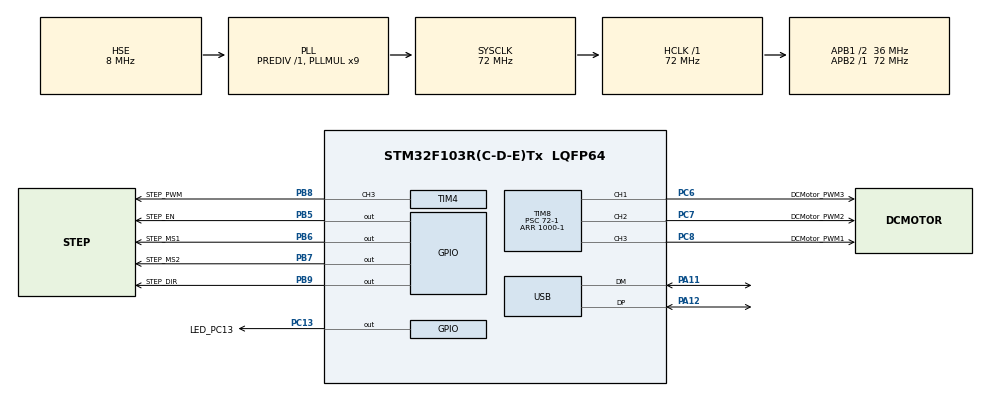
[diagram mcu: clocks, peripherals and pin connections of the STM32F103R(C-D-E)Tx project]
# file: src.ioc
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Mcu.Family=STM32F1
Mcu.Name=STM32F103R(C-D-E)Tx
Mcu.Package=LQFP64
NVIC.PriorityGroup=NVIC_PRIORITYGROUP_4
NVIC.TIM2_IRQn=true\:15\:0\:false\:false\:true\:false\:true\:true
NVIC.TimeBase=TIM2_IRQn
NVIC.TimeBaseIP=TIM2
NVIC.USB_LP_CAN1_RX0_IRQn=true\:0\:0\:false\:false\:true\:false\:true\:true
PA11.Mode=Device
PA11.Signal=USB_DM
PA12.Mode=Device
PA12.Signal=USB_DP
PA13.Mode=Serial_Wire
PA13.Signal=SYS_JTMS-SWDIO
PA14.Mode=Serial_Wire
PA14.Signal=SYS_JTCK-SWCLK
PB5.GPIO_Label=STEP_EN
PB5.Signal=GPIO_Output
PB6.GPIO_Label=STEP_MS1
PB6.Signal=GPIO_Output
PB7.GPIO_Label=STEP_MS2
PB7.Signal=GPIO_Output
PB8.GPIO_Label=STEP_PWM
PB8.Signal=S_TIM4_CH3
PB9.GPIO_Label=STEP_DIR
PB9.Signal=GPIO_Output
PC13-TAMPER-RTC.GPIO_Label=LED_PC13
PC13-TAMPER-RTC.Signal=GPIO_Output
PC6.GPIO_Label=DCMotor_PWM3
PC6.Signal=S_TIM8_CH1
PC7.GPIO_Label=DCMotor_PWM2
PC7.Signal=S_TIM8_CH2
PC8.GPIO_Label=DCMotor_PWM1
PC8.Signal=S_TIM8_CH3
PD0-OSC_IN.Mode=HSE-External-Oscillator
PD0-OSC_IN.Signal=RCC_OSC_IN
PD1-OSC_OUT.Mode=HSE-External-Oscillator
PD1-OSC_OUT.Signal=RCC_OSC_OUT
ProjectManager.HeapSize=0x200
ProjectManager.StackSize=0x400
ProjectManager.TargetToolchain=STM32CubeIDE
RCC.AHBFreq_Value=72000000
RCC.APB1CLKDivider=RCC_HCLK_DIV2
RCC.APB1Freq_Value=36000000
RCC.APB1TimFreq_Value=72000000
RCC.APB2Freq_Value=72000000
RCC.APB2TimFreq_Value=72000000
RCC.HCLKFreq_Value=72000000
RCC.PLLMUL=RCC_PLL_MUL9
RCC.PLLSourceVirtual=RCC_PLLSOURCE_HSE
RCC.SYSCLKFreq_VALUE=72000000
RCC.SYSCLKSource=RCC_SYSCLKSOURCE_PLLCLK
RCC.USBFreq_Value=48000000
RCC.USBPrescaler=RCC_USBCLKSOURCE_PLL_DIV1_5
SH.S_TIM4_CH3.0=TIM4_CH3,PWM Generation3 CH3
SH.S_TIM8_CH1.0=TIM8_CH1,PWM Generation1 CH1
SH.S_TIM8_CH2.0=TIM8_CH2,PWM Generation2 CH2
SH.S_TIM8_CH3.0=TIM8_CH3,PWM Generation3 CH3
TIM4.AutoReloadPreload=TIM_AUTORELOAD_PRELOAD_ENABLE
TIM4.Channel-PWM\ Generation3\ CH3=TIM_CHANNEL_3
TIM4.Period=10000-1
TIM4.Prescaler=72-1
TIM8.Channel-PWM\ Generation1\ CH1=TIM_CHANNEL_1
TIM8.Channel-PWM\ Generation2\ CH2=TIM_CHANNEL_2
TIM8.Channel-PWM\ Generation3\ CH3=TIM_CHANNEL_3
TIM8.Period=1000-1
TIM8.Prescaler=72-1
USB_DEVICE.CLASS_NAME_FS=CDC
USB_DEVICE.VirtualMode=Cdc
USB_DEVICE.VirtualModeFS=Cdc_FS
VP_SYS_VS_tim2.Mode=TIM2
VP_TIM4_VS_ClockSourceINT.Mode=Internal
VP_TIM8_VS_ClockSourceINT.Mode=Internal
VP_USB_DEVICE_VS_USB_DEVICE_CDC_FS.Mode=CDC_FS
board=custom

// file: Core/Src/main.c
/* USER CODE BEGIN Header */
/**
 ******************************************************************************
 * @file           : main.c
 * @brief          : Main program body
 ******************************************************************************
 * @attention
 *
 * Copyright (c) 2026 STMicroelectronics.
 * All rights reserved.
 *
 * This software is licensed under terms that can be found in the LICENSE file
 * in the root directory of this software component.
 * If no LICENSE file comes with this software, it is provided AS-IS.
 *
 ******************************************************************************
 */
/* USER CODE END Header */
#include "main.h"
#include "tim.h"
#include "usb_device.h"
#include "gpio.h"

/* USER CODE BEGIN Includes */
#include "usbd_cdc_if.h"
#include <stdio.h>
#include <string.h>
#include <stdlib.h>
#include <stdarg.h>
/* USER CODE END Includes */

/* USER CODE BEGIN PTD */
typedef struct
{
  char *data;
  uint32_t length;
} String;
typedef struct
{
  char *name;
  void (*handler)(int argc, char **argv);
  char *description;
} Command_t;
/* USER CODE END PTD */

/* USER CODE BEGIN PD */
#define STEP_PWM_PERIOD 1000
#define SERIAL_BUFFER_SIZE 256
/* USER CODE END PD */

/* USER CODE BEGIN PV */
static uint8_t serial_buffer[SERIAL_BUFFER_SIZE];
static uint32_t serial_buffer_index = 0;
static uint8_t serial_available_flag = 0;
uint8_t motor_speed = 0;
uint8_t stepper_enabled = 0;
uint8_t stepper_direction = 0;
uint32_t stepper_speed_hz = 100; // steps/seccond
/* USER CODE END PV */

void SystemClock_Config(void);
/* USER CODE BEGIN PFP */
uint8_t Serial_available(void);
int16_t Serial_read(void);
uint32_t Serial_readBytes(uint8_t *buffer, uint32_t length);
String Serial_readStringUntil(char terminator);
String Serial_readString(void);
int32_t Serial_parseInt(void);
float Serial_parseFloat(void);
// void Serial_print(const char *format, ...);
// void Serial_println(const char *format, ...);
// void Serial_print_int(int32_t value);
// void Serial_print_float(float value, uint8_t decimal_places);
// void Serial_println_void(void);
void Serial_flush(void);
void USB_CDC_RxHandler(uint8_t *Buf, uint32_t Len);
static void Stepper_Enable(void);
static void Stepper_Disable(void);
static void Stepper_Set_Direction(uint8_t dir);
static void Stepper_Set_Speed(uint32_t hz);
static void Stepper_Start(void);
static void Stepper_Stop(void);
// static void DC_Start(void);
// static void DC_Stop(void);
// static void DC_Set_Speed(uint8_t speed);

/* USER CODE END PFP */

/* USER CODE BEGIN 0 */
void USB_CDC_RxHandler(uint8_t *Buf, uint32_t Len)
{
  if (Len > 0)
  {
    for (uint32_t i = 0; i < Len; i++)
    {
      if (serial_buffer_index < SERIAL_BUFFER_SIZE)
      {
        serial_buffer[serial_buffer_index++] = Buf[i];
      }
    }
    serial_available_flag = 1;
  }
}
// Serial available - kiểm tra dữ liệu có sẵn
uint8_t Serial_available(void)
{
  return (serial_available_flag && (serial_buffer_index > 0));
}

static void Serial_write(uint8_t *data, uint16_t len)
{
  // gửi nếu USB rảnh, không thì bỏ
  if (CDC_Transmit_FS(data, len) == USBD_OK)
  {
  }
}
void Serial_print(const char *fmt, ...)
{
  char buffer[128];

  va_list args;
  va_start(args, fmt);
  vsnprintf(buffer, sizeof(buffer), fmt, args);
  va_end(args);

  Serial_write((uint8_t *)buffer, strlen(buffer));
}
void Serial_println(const char *fmt, ...)
{
  char buffer[128];

  va_list args;
  va_start(args, fmt);
  vsnprintf(buffer, sizeof(buffer), fmt, args);
  va_end(args);

  uint16_t len = strlen(buffer);

  // thêm newline
  buffer[len++] = '\r';
  buffer[len++] = '\n';
  buffer[len] = '\0';

  Serial_write((uint8_t *)buffer, len);
}

// Đọc 1 byte từ buffer
int16_t Serial_read(void)
{
  if (!Serial_available())
    return -1;

  uint8_t data = serial_buffer[0];

  // Dịch buffer lên
  for (uint32_t i = 0; i < serial_buffer_index - 1; i++)
  {
    serial_buffer[i] = serial_buffer[i + 1];
  }
  serial_buffer_index--;

  if (serial_buffer_index == 0)
  {
    serial_available_flag = 0;
  }

  return data;
}

// Đọc dữ liệu vào buffer
uint32_t Serial_readBytes(uint8_t *buffer, uint32_t length)
{
  uint32_t count = 0;
  while (count < length && Serial_available())
  {
    int16_t data = Serial_read();
    if (data >= 0)
    {
      buffer[count++] = (uint8_t)data;
    }
    else
    {
      break;
    }
  }
  return count;
}

// Đọc 1 dòng (đến \n hoặc \r\n)
String Serial_readStringUntil(char terminator)
{
  String result = {0};
  char temp[SERIAL_BUFFER_SIZE];
  uint32_t index = 0;

  while (index < SERIAL_BUFFER_SIZE - 1 && Serial_available())
  {
    int16_t c = Serial_read();
    if (c < 0)
      break;

    if (c == terminator || c == '\n')
    {
      if (c == '\n' && index > 0 && temp[index - 1] == '\r')
      {
        index--; // Bỏ qua \r
      }
      break;
    }

    temp[index++] = (char)c;
  }

  temp[index] = '\0';
  result.data = malloc(index + 1);
  if (result.data)
  {
    strcpy(result.data, temp);
    result.length = index;
  }

  return result;
}

// Đọc chuỗi (không có ký tự kết thúc)
String Serial_readString(void)
{
  return Serial_readStringUntil('\n');
}

// Parse string thành số nguyên
int32_t Serial_parseInt(void)
{
  String str = Serial_readStringUntil('\n');
  if (str.data)
  {
    int32_t value = atoi(str.data);
    free(str.data);
    return value;
  }
  return 0;
}

// Parse string thành số thực
float Serial_parseFloat(void)
{
  String str = Serial_readStringUntil('\n');
  if (str.data)
  {
    float value = atof(str.data);
    free(str.data);
    return value;
  }
  return 0;
}

// // In ra Serial (giống Serial.print)
// void Serial_print(const char *format, ...)
// {
//   char buffer[256];
//   va_list args;
//   va_start(args, format);
//   vsnprintf(buffer, sizeof(buffer), format, args);
//   va_end(args);

//   if (CDC_Transmit_FS((uint8_t *)buffer, strlen(buffer)) == USBD_OK){}
// }

// // In ra Serial có xuống dòng
// void Serial_println(const char *format, ...)
// {
//   char buffer[256];
//   va_list args;
//   va_start(args, format);
//   vsnprintf(buffer, sizeof(buffer), format, args);
//   va_end(args);

//   char output[260];
//   snprintf(output, sizeof(output), "%s\r\n", buffer);
//   if (CDC_Transmit_FS((uint8_t *)output, strlen(output)) == USBD_OK){}
// }

// // In số nguyên
// void Serial_print_int(int32_t value)
// {
//   char buffer[32];
//   snprintf(buffer, sizeof(buffer), "%ld", value);
//   if (CDC_Transmit_FS((uint8_t *)buffer, strlen(buffer)) == USBD_OK){}
// }

// // In số thực
// void Serial_print_float(float value, uint8_t decimal_places)
// {
//   char buffer[64];
//   snprintf(buffer, sizeof(buffer), "%.*f", decimal_places, value);
//   if (CDC_Transmit_FS((uint8_t *)buffer, strlen(buffer)) == USBD_OK){}
// }

// // In xuống dòng
// void Serial_println_void(void)
// {
//   if (CDC_Transmit_FS((uint8_t *)"\r\n", 2) == USBD_OK){}
// }

// Flush buffer
void Serial_flush(void)
{
  serial_buffer_index = 0;
  serial_available_flag = 0;
}
static void Stepper_Enable(void)
{
  stepper_enabled = 1;
  HAL_GPIO_WritePin(STEP_EN_GPIO_Port, STEP_EN_Pin, GPIO_PIN_RESET);
}
static void Stepper_Disable(void)
{
  stepper_enabled = 0;
  HAL_GPIO_WritePin(STEP_EN_GPIO_Port, STEP_EN_Pin, GPIO_PIN_SET);
  HAL_TIM_PWM_Stop(&htim4, TIM_CHANNEL_3);
}
static void Stepper_Set_Direction(uint8_t dir)
{
  stepper_direction = dir;
  HAL_GPIO_WritePin(STEP_DIR_GPIO_Port, STEP_DIR_Pin, dir ? GPIO_PIN_SET : GPIO_PIN_RESET);
}
static void Stepper_Set_Speed(uint32_t hz)
{
  if (hz > 0 && hz <= 10000) // Giới hạn 10kHz
  {
    stepper_speed_hz = hz;

    // Tính toán lại tần số PWM
    // Clock TIM4 = 72MHz / (Prescaler+1) = 72MHz / 72 = 1MHz
    // Period = 1MHz / (hz * 2) vì cần 2 xung PWM cho 1 step?
    // Thực tế: mỗi chu kỳ PWM = 1 step, nhưng cần 50% duty để có xung lên xuống
    // Nên tần số PWM = tần số step
    uint32_t period = 1000000 / hz; // 1MHz / hz

    if (period < 2)
      period = 2; // Giới hạn period tối thiểu

    __HAL_TIM_SET_AUTORELOAD(&htim4, period - 1);
    __HAL_TIM_SET_COMPARE(&htim4, TIM_CHANNEL_3, (period - 1) / 2);
  }
}
static void Stepper_Start(void)
{
  if (stepper_enabled)
  {
    HAL_TIM_PWM_Start(&htim4, TIM_CHANNEL_3);
  }
}
static void Stepper_Stop(void)
{
  HAL_TIM_PWM_Stop(&htim4, TIM_CHANNEL_3);
  HAL_GPIO_WritePin(GPIOB, GPIO_PIN_8, GPIO_PIN_RESET);
}

// Hàm split string thành các token
uint8_t split_command(char *command, char **argv, uint8_t max_args)
{
  uint8_t argc = 0;
  char *token = strtok(command, " ");

  while (token != NULL && argc < max_args)
  {
    argv[argc++] = token;
    token = strtok(NULL, " ");
  }

  return argc;
}

// Xử lý lệnh "help"
void cmd_help(int argc, char **argv)
{
  Serial_println("======= Available Commands =======");
  Serial_println("  help              - Show this help");
  Serial_println("  status            - Show motor status");
  Serial_println("  step on/off       - Enable/disable stepper motor");
  Serial_println("  step dir [0/1]    - Set stepper direction (0=CCW, 1=CW)");
  Serial_println("  step speed [hz]   - Set stepper speed (1-10000 Hz)");
  Serial_println("  step start/stop   - Start/stop stepper motor");
  Serial_println("  dc speed [0-255]  - Set DC motor speed (PWM value)");
  Serial_println("  dc ch [1-3] [val] - Set DC motor channel value");
  Serial_println("  echo [text]       - Echo back text");
  Serial_println("======= Available Commands =======");
}

// Xử lý lệnh "status"
void cmd_status(int argc, char **argv)
{
  Serial_println("======= Motor Status =======");
  Serial_print("Stepper Enabled: ");
  Serial_println(stepper_enabled ? "YES" : "NO");
  Serial_print("Stepper Direction: ");
  Serial_println(stepper_direction ? "CW" : "CCW");
  Serial_print("Stepper Speed: ", stepper_speed_hz);
  // Serial_print(stepper_speed_hz);
  Serial_println(" Hz");
  Serial_print("Stepper PWM State: ");
  Serial_println(HAL_TIM_PWM_GetState(&htim4) == HAL_TIM_STATE_READY ? "Stopped" : "Running");
  Serial_println("======= Motor Status =======");
}

// Xử lý lệnh "step"
void cmd_step(int argc, char **argv)
{
  if (argc < 2)
  {
    Serial_println("Usage: step [on/off/dir/speed/start/stop]");
    return;
  }

  if (strcmp(argv[1], "on") == 0)
  {
    Stepper_Enable();
    Serial_println("Stepper enabled");
  }
  else if (strcmp(argv[1], "off") == 0)
  {
    Stepper_Disable();
    Serial_println("Stepper disabled");
  }
  else if (strcmp(argv[1], "dir") == 0 && argc >= 3)
  {
    uint8_t dir = atoi(argv[2]);
    Stepper_Set_Direction(dir);
    Serial_print("Stepper direction set to ");
    Serial_println(dir ? "CW" : "CCW");
  }
  else if (strcmp(argv[1], "speed") == 0 && argc >= 3)
  {
    uint32_t speed = atoi(argv[2]);
    Stepper_Set_Speed(speed);
    Serial_print("Stepper speed set to ", speed);
    // Serial_print(speed);
    Serial_println(" Hz");
  }
  else if (strcmp(argv[1], "start") == 0)
  {
    Stepper_Start();
    Serial_println("Stepper started");
  }
  else if (strcmp(argv[1], "stop") == 0)
  {
    Stepper_Stop();
    Serial_println("Stepper stopped");
  }
  else if (strcmp(argv[1], "ms") == 0 && argc >= 4)
  {
    uint8_t ms_pin = atoi(argv[2]); // 1 hoặc 2
    uint8_t state = atoi(argv[3]);  // 0 hoặc 1

    if (state > 1)
    {
      Serial_println("Invalid state (0 or 1)");
      return;
    }

    GPIO_PinState gpio_state = state ? GPIO_PIN_SET : GPIO_PIN_RESET;

    switch (ms_pin)
    {
    case 1:
      HAL_GPIO_WritePin(STEP_MS1_GPIO_Port, STEP_MS1_Pin, gpio_state);
      Serial_println("MS1 set to %d", state);
      break;

    case 2:
      HAL_GPIO_WritePin(STEP_MS2_GPIO_Port, STEP_MS2_Pin, gpio_state);
      Serial_println("MS2 set to %d", state);
      break;

    default:
      Serial_println("Invalid MS pin (1 or 2)");
      break;
    }
  }
  else
  {
    Serial_println("Invalid step subcommand");
  }
}

// Xử lý lệnh "dc"
void cmd_dc(int argc, char **argv)
{
  if (argc < 2)
  {
    Serial_println("Usage: dc [speed/ch/start/stop] ...");
    return;
  }

  // ===== dc ch =====
  else if (strcmp(argv[1], "ch") == 0 && argc >= 4)
  {
    uint8_t channel = atoi(argv[2]);
    uint32_t value = atoi(argv[3]);

    if (value > 999)
      value = 999;

    switch (channel)
    {
    case 1:
      __HAL_TIM_SET_COMPARE(&htim8, TIM_CHANNEL_3, value);
      Serial_println("Channel 1 set to %lu", value);
      break;

    case 2:
      __HAL_TIM_SET_COMPARE(&htim8, TIM_CHANNEL_2, value);
      Serial_println("Channel 2 set to %lu", value);
      break;

    case 3:
      __HAL_TIM_SET_COMPARE(&htim8, TIM_CHANNEL_1, value);
      Serial_println("Channel 3 set to %lu", value);
      break;

    default:
      Serial_println("Invalid channel (1-3)");
    }
  }

  // ===== dc start =====
  else if (strcmp(argv[1], "start") == 0 && argc >= 3)
  {
    uint8_t channel = atoi(argv[2]);

    switch (channel)
    {
    case 1:
      HAL_TIM_PWM_Start(&htim8, TIM_CHANNEL_3);
      Serial_println("Channel 1 STARTED");
      break;

    case 2:
      HAL_TIM_PWM_Start(&htim8, TIM_CHANNEL_2);
      Serial_println("Channel 2 STARTED");
      break;

    case 3:
      HAL_TIM_PWM_Start(&htim8, TIM_CHANNEL_1);
      Serial_println("Channel 3 STARTED");
      break;

    default:
      Serial_println("Invalid channel (1-3)");
    }
  }

  // ===== dc stop =====
  else if (strcmp(argv[1], "stop") == 0 && argc >= 3)
  {
    uint8_t channel = atoi(argv[2]);

    switch (channel)
    {
    case 1:
      HAL_TIM_PWM_Stop(&htim8, TIM_CHANNEL_3);
      Serial_println("Channel 1 STOPPED");
      break;

    case 2:
      HAL_TIM_PWM_Stop(&htim8, TIM_CHANNEL_2);
      Serial_println("Channel 2 STOPPED");
      break;

    case 3:
      HAL_TIM_PWM_Stop(&htim8, TIM_CHANNEL_1);
      Serial_println("Channel 3 STOPPED");
      break;

    default:
      Serial_println("Invalid channel (1-3)");
    }
  }

  else
  {
    Serial_println("Invalid dc command");
  }
}

// Xử lý lệnh "echo"
void cmd_echo(int argc, char **argv)
{
  if (argc >= 2)
  {
    for (int i = 1; i < argc; i++)
    {
      Serial_print("%s", argv[i]);
      if (i < argc - 1)
        Serial_print(" ");
    }
    if (CDC_Transmit_FS((uint8_t *)"\r\n", 2) == USBD_OK)
    {
    }
  }
}

// Danh sách các lệnh
Command_t commands[] = {
    {"help", cmd_help, "Show help"},
    {"status", cmd_status, "Show status"},
    {"step", cmd_step, "Control stepper motor"},
    {"dc", cmd_dc, "Control DC motor"},
    {"echo", cmd_echo, "Echo text"},
    {NULL, NULL, NULL}};

// Tìm và thực thi lệnh
void process_command(char *command_str)
{
  // Xóa ký tự xuống dòng
  char *newline = strchr(command_str, '\n');
  if (newline)
    *newline = '\0';
  newline = strchr(command_str, '\r');
  if (newline)
    *newline = '\0';

  if (strlen(command_str) == 0)
    return;

  char *argv[10];
  uint8_t argc = split_command(command_str, argv, 10);

  if (argc == 0)
    return;

  // Tìm và thực thi lệnh
  for (int i = 0; commands[i].name != NULL; i++)
  {
    if (strcmp(argv[0], commands[i].name) == 0)
    {
      commands[i].handler(argc, argv);
      return;
    }
  }

  // Không tìm thấy lệnh
  Serial_print("Unknown command: ");
  Serial_println("%s", argv[0]);
  Serial_println("Type 'help' for available commands");
}

// Hàm xử lý chính cho USB commands (gọi trong main loop)
void Serial_process_commands(void)
{
  if (Serial_available())
  {
    String cmd = Serial_readString();
    if (cmd.data)
    {
      process_command(cmd.data);
      free(cmd.data);
    }
  }
}

// Hàm tiện ích: đọc số từ Serial (blocking với timeout)
int32_t Serial_readInt_timeout(uint32_t timeout_ms)
{
  uint32_t start = HAL_GetTick();
  String str = {0};
  char temp[32];
  uint32_t index = 0;

  while ((HAL_GetTick() - start) < timeout_ms)
  {
    if (Serial_available())
    {
      int16_t c = Serial_read();
      if (c >= 0)
      {
        if ((c >= '0' && c <= '9') || c == '-' || (c == '.' && index > 0))
        {
          if (index < 31)
            temp[index++] = (char)c;
        }
        else if (c == '\n' || c == ' ')
        {
          break;
        }
      }
    }
  }

  temp[index] = '\0';
  return atoi(temp);
}

// Hàm đọc chuỗi từ Serial (non-blocking)
uint8_t Serial_readString_nonblocking(char *buffer, uint32_t max_len)
{
  static uint32_t last_time = 0;
  static uint32_t index = 0;

  if (Serial_available())
  {
    int16_t c = Serial_read();
    if (c >= 0)
    {
      if (c == '\n' || c == '\r')
      {
        buffer[index] = '\0';
        index = 0;
        return 1;
      }
      else if (index < max_len - 1)
      {
        buffer[index++] = (char)c;
      }
    }
  }

  return 0;
}
/* USER CODE END 0 */

int main(void)
{

  /* MCU Configuration--------------------------------------------------------*/

  /* Reset of all peripherals, Initializes the Flash interface and the Systick. */
  HAL_Init();

  /* Configure the system clock */
  SystemClock_Config();

  /* Initialize all configured peripherals */
  MX_GPIO_Init();
  MX_USB_DEVICE_Init();
  MX_TIM4_Init();
  MX_TIM8_Init();
  /* USER CODE BEGIN 2 */
  for (int i = 0; i < 20; i++)
  {
    HAL_GPIO_TogglePin(LED_PC13_GPIO_Port, LED_PC13_Pin);
    HAL_Delay(80);
  }
  HAL_GPIO_WritePin(LED_PC13_GPIO_Port, LED_PC13_Pin, GPIO_PIN_SET);
  HAL_GPIO_WritePin(STEP_EN_GPIO_Port, STEP_EN_Pin, GPIO_PIN_SET);

  HAL_GPIO_WritePin(STEP_MS1_GPIO_Port, STEP_MS1_Pin, GPIO_PIN_SET);
  HAL_GPIO_WritePin(STEP_MS2_GPIO_Port, STEP_MS2_Pin, GPIO_PIN_SET);
  // MS2/MS1 = 0/0 => MicroStep 1/8
  // MS2/MS1 = 0/1 => MicroStep 1/32
  // MS2/MS1 = 1/0 => MicroStep 1/64
  // MS2/MS1 = 1/1 => MicroStep 1/16

  HAL_TIM_PWM_Stop(&htim8, TIM_CHANNEL_1);
  HAL_TIM_PWM_Stop(&htim8, TIM_CHANNEL_2);
  HAL_TIM_PWM_Stop(&htim8, TIM_CHANNEL_3);

  // Stepper_Start();

  /* USER CODE END 2 */

  /* Infinite loop */
  /* USER CODE BEGIN WHILE */
  while (1)
  {
    Serial_process_commands();
    /* USER CODE END WHILE */

  }
}

void SystemClock_Config(void)
{
  RCC_OscInitTypeDef RCC_OscInitStruct = {0};
  RCC_ClkInitTypeDef RCC_ClkInitStruct = {0};
  RCC_PeriphCLKInitTypeDef PeriphClkInit = {0};

  /** Initializes the RCC Oscillators according to the specified parameters
   * in the RCC_OscInitTypeDef structure.
   */
  RCC_OscInitStruct.OscillatorType = RCC_OSCILLATORTYPE_HSE;
  RCC_OscInitStruct.HSEState = RCC_HSE_ON;
  RCC_OscInitStruct.HSEPredivValue = RCC_HSE_PREDIV_DIV1;
  RCC_OscInitStruct.HSIState = RCC_HSI_ON;
  RCC_OscInitStruct.PLL.PLLState = RCC_PLL_ON;
  RCC_OscInitStruct.PLL.PLLSource = RCC_PLLSOURCE_HSE;
  RCC_OscInitStruct.PLL.PLLMUL = RCC_PLL_MUL9;
  if (HAL_RCC_OscConfig(&RCC_OscInitStruct) != HAL_OK)
  {
    Error_Handler();
  }

  /** Initializes the CPU, AHB and APB buses clocks
   */
  RCC_ClkInitStruct.ClockType = RCC_CLOCKTYPE_HCLK | RCC_CLOCKTYPE_SYSCLK | RCC_CLOCKTYPE_PCLK1 | RCC_CLOCKTYPE_PCLK2;
  RCC_ClkInitStruct.SYSCLKSource = RCC_SYSCLKSOURCE_PLLCLK;
  RCC_ClkInitStruct.AHBCLKDivider = RCC_SYSCLK_DIV1;
  RCC_ClkInitStruct.APB1CLKDivider = RCC_HCLK_DIV2;
  RCC_ClkInitStruct.APB2CLKDivider = RCC_HCLK_DIV1;

  if (HAL_RCC_ClockConfig(&RCC_ClkInitStruct, FLASH_LATENCY_2) != HAL_OK)
  {
    Error_Handler();
  }
  PeriphClkInit.PeriphClockSelection = RCC_PERIPHCLK_USB;
  PeriphClkInit.UsbClockSelection = RCC_USBCLKSOURCE_PLL_DIV1_5;
  if (HAL_RCCEx_PeriphCLKConfig(&PeriphClkInit) != HAL_OK)
  {
    Error_Handler();
  }
}

void HAL_TIM_PeriodElapsedCallback(TIM_HandleTypeDef *htim)
{
  if (htim->Instance == TIM2)
  {
    HAL_IncTick();
  }
}

void Error_Handler(void)
{
  __disable_irq();
  while (1)
  {
  }
}
